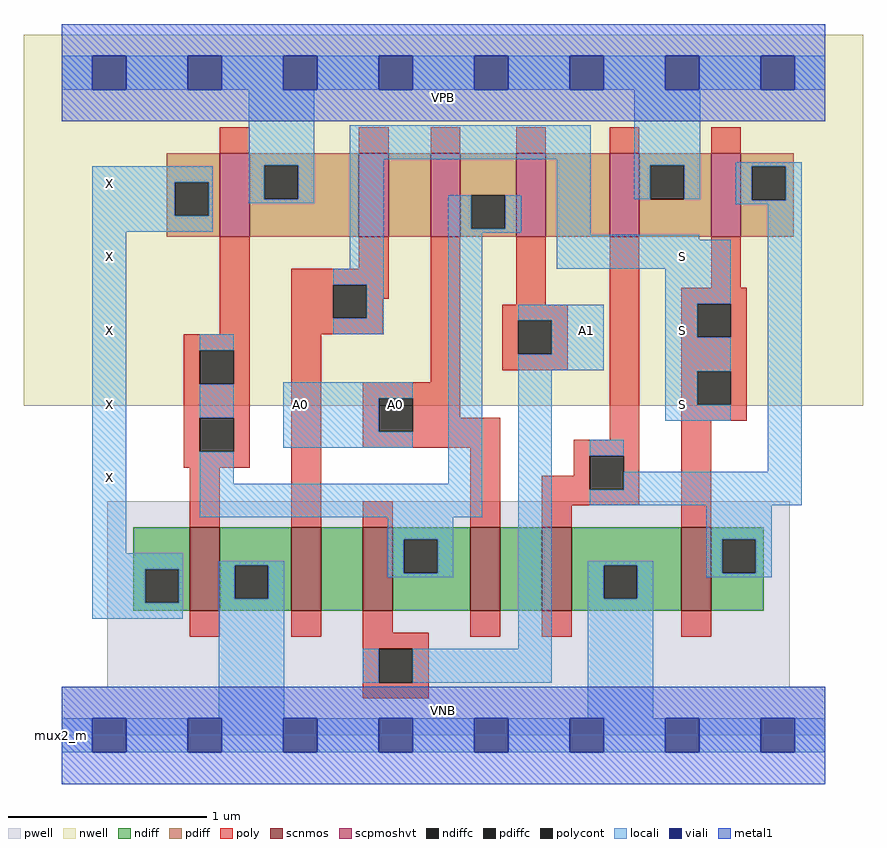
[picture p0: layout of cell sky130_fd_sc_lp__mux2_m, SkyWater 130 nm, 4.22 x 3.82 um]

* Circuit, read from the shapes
.subckt sky130_fd_sc_lp__mux2_m A0 A1 S VGND VNB VPB VPWR X
XM1 VGND n1 X VNB sky130_fd_pr__nfet_01v8 w=0.42 l=0.15
XM2 n2 S VGND VNB sky130_fd_pr__nfet_01v8 w=0.42 l=0.15
XM3 n1 A1 n2 VNB sky130_fd_pr__nfet_01v8 w=0.42 l=0.15
XM4 n3 A0 n1 VNB sky130_fd_pr__nfet_01v8 w=0.42 l=0.15
XM5 VGND n4 n3 VNB sky130_fd_pr__nfet_01v8 w=0.42 l=0.15
XM6 n4 S VGND VNB sky130_fd_pr__nfet_01v8 w=0.42 l=0.15
XM7 VPWR n1 X VPB sky130_fd_pr__pfet_01v8_hvt w=0.42 l=0.15
XM8 n5 S VPWR VPB sky130_fd_pr__pfet_01v8_hvt w=0.42 l=0.15
XM9 n1 A0 n5 VPB sky130_fd_pr__pfet_01v8_hvt w=0.42 l=0.15
XM10 n6 A1 n1 VPB sky130_fd_pr__pfet_01v8_hvt w=0.42 l=0.15
XM11 VPWR n4 n6 VPB sky130_fd_pr__pfet_01v8_hvt w=0.42 l=0.15
XM12 n4 S VPWR VPB sky130_fd_pr__pfet_01v8_hvt w=0.42 l=0.15
.ends

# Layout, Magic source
magic
tech sky130A
magscale 1 2
<< nwell >>
rect -38 331 806 704
<< pwell >>
rect 46 49 732 235
rect 0 0 768 49
<< scnmos >>
rect 129 125 159 209
rect 231 125 261 209
rect 303 125 333 209
rect 411 125 441 209
rect 483 125 513 209
rect 623 125 653 209
<< scpmoshvt >>
rect 159 501 189 585
rect 299 501 329 585
rect 371 501 401 585
rect 457 501 487 585
rect 551 501 581 585
rect 653 501 683 585
<< ndiff >>
rect 72 167 129 209
rect 72 133 84 167
rect 118 133 129 167
rect 72 125 129 133
rect 159 171 231 209
rect 159 137 174 171
rect 208 137 231 171
rect 159 125 231 137
rect 261 125 303 209
rect 333 197 411 209
rect 333 163 344 197
rect 378 163 411 197
rect 333 125 411 163
rect 441 125 483 209
rect 513 171 623 209
rect 513 137 545 171
rect 579 137 623 171
rect 513 125 623 137
rect 653 197 706 209
rect 653 163 664 197
rect 698 163 706 197
rect 653 125 706 163
<< pdiff >>
rect 106 556 159 585
rect 106 522 114 556
rect 148 522 159 556
rect 106 501 159 522
rect 189 573 299 585
rect 189 539 204 573
rect 238 539 299 573
rect 189 501 299 539
rect 329 501 371 585
rect 401 543 457 585
rect 401 509 412 543
rect 446 509 457 543
rect 401 501 457 509
rect 487 501 551 585
rect 581 573 653 585
rect 581 539 592 573
rect 626 539 653 573
rect 581 501 653 539
rect 683 572 736 585
rect 683 538 694 572
rect 728 538 736 572
rect 683 501 736 538
<< ndiffc >>
rect 84 133 118 167
rect 174 137 208 171
rect 344 163 378 197
rect 545 137 579 171
rect 664 163 698 197
<< pdiffc >>
rect 114 522 148 556
rect 204 539 238 573
rect 412 509 446 543
rect 592 539 626 573
rect 694 538 728 572
<< poly >>
rect 159 585 189 611
rect 299 585 329 611
rect 371 585 401 611
rect 457 585 487 611
rect 551 585 581 611
rect 653 585 683 611
rect 159 403 189 501
rect 299 469 329 501
rect 123 387 189 403
rect 123 353 139 387
rect 173 353 189 387
rect 123 319 189 353
rect 123 285 139 319
rect 173 285 189 319
rect 123 269 189 285
rect 231 453 329 469
rect 231 419 273 453
rect 307 439 329 453
rect 307 419 323 439
rect 231 403 323 419
rect 129 209 159 269
rect 231 209 261 403
rect 371 355 401 501
rect 457 433 487 501
rect 443 417 509 433
rect 443 383 459 417
rect 493 383 509 417
rect 443 367 509 383
rect 303 339 401 355
rect 303 305 319 339
rect 353 319 401 339
rect 353 305 441 319
rect 303 289 441 305
rect 551 297 581 501
rect 653 450 683 501
rect 303 209 333 235
rect 411 209 441 289
rect 515 281 581 297
rect 515 261 531 281
rect 483 247 531 261
rect 565 247 581 281
rect 483 231 581 247
rect 623 434 689 450
rect 623 400 639 434
rect 673 400 689 434
rect 623 366 689 400
rect 623 332 639 366
rect 673 332 689 366
rect 623 316 689 332
rect 483 209 513 231
rect 623 209 653 316
rect 129 99 159 125
rect 231 99 261 125
rect 303 103 333 125
rect 303 87 369 103
rect 411 99 441 125
rect 483 99 513 125
rect 623 99 653 125
rect 303 53 319 87
rect 353 53 369 87
rect 303 37 369 53
<< polycont >>
rect 139 353 173 387
rect 139 285 173 319
rect 273 419 307 453
rect 459 383 493 417
rect 319 305 353 339
rect 531 247 565 281
rect 639 400 673 434
rect 639 332 673 366
rect 319 53 353 87
<< locali >>
rect 0 649 31 683
rect 65 649 127 683
rect 161 649 223 683
rect 257 649 319 683
rect 353 649 415 683
rect 449 649 511 683
rect 545 649 607 683
rect 641 649 703 683
rect 737 649 768 683
rect 188 573 254 649
rect 31 556 152 572
rect 31 522 114 556
rect 148 522 152 556
rect 188 539 204 573
rect 238 539 254 573
rect 188 535 254 539
rect 290 579 532 613
rect 31 506 152 522
rect 31 183 65 506
rect 290 469 324 579
rect 273 453 324 469
rect 307 419 324 453
rect 273 403 324 419
rect 389 509 412 543
rect 446 509 462 543
rect 389 505 462 509
rect 139 387 173 403
rect 139 319 173 353
rect 223 339 353 355
rect 223 305 319 339
rect 223 289 353 305
rect 139 253 173 285
rect 389 253 423 505
rect 498 503 532 579
rect 576 573 642 649
rect 576 539 592 573
rect 626 539 642 573
rect 678 572 744 576
rect 678 538 694 572
rect 728 538 744 572
rect 678 534 744 538
rect 498 498 641 503
rect 498 469 673 498
rect 607 434 673 469
rect 139 219 423 253
rect 459 417 545 433
rect 493 383 545 417
rect 459 367 545 383
rect 607 400 639 434
rect 328 197 394 219
rect 31 167 122 183
rect 31 133 84 167
rect 118 133 122 167
rect 31 117 122 133
rect 158 171 224 175
rect 158 137 174 171
rect 208 137 224 171
rect 328 163 344 197
rect 378 163 394 197
rect 328 159 394 163
rect 158 17 224 137
rect 459 87 493 367
rect 607 366 673 400
rect 607 332 639 366
rect 607 316 673 332
rect 531 281 565 297
rect 710 265 744 534
rect 565 247 744 265
rect 531 231 744 247
rect 648 197 714 231
rect 303 53 319 87
rect 353 53 493 87
rect 529 171 595 175
rect 529 137 545 171
rect 579 137 595 171
rect 648 163 664 197
rect 698 163 714 197
rect 648 159 714 163
rect 529 17 595 137
rect 0 -17 31 17
rect 65 -17 127 17
rect 161 -17 223 17
rect 257 -17 319 17
rect 353 -17 415 17
rect 449 -17 511 17
rect 545 -17 607 17
rect 641 -17 703 17
rect 737 -17 768 17
<< viali >>
rect 31 649 65 683
rect 127 649 161 683
rect 223 649 257 683
rect 319 649 353 683
rect 415 649 449 683
rect 511 649 545 683
rect 607 649 641 683
rect 703 649 737 683
rect 31 -17 65 17
rect 127 -17 161 17
rect 223 -17 257 17
rect 319 -17 353 17
rect 415 -17 449 17
rect 511 -17 545 17
rect 607 -17 641 17
rect 703 -17 737 17
<< metal1 >>
rect 0 683 768 715
rect 0 649 31 683
rect 65 649 127 683
rect 161 649 223 683
rect 257 649 319 683
rect 353 649 415 683
rect 449 649 511 683
rect 545 649 607 683
rect 641 649 703 683
rect 737 649 768 683
rect 0 617 768 649
rect 0 17 768 49
rect 0 -17 31 17
rect 65 -17 127 17
rect 161 -17 223 17
rect 257 -17 319 17
rect 353 -17 415 17
rect 449 -17 511 17
rect 545 -17 607 17
rect 641 -17 703 17
rect 737 -17 768 17
rect 0 -49 768 -17
<< labels >>
flabel pwell s 0 0 768 49 0 FreeSans 200 0 0 0 VNB
port 5 nsew ground bidirectional
flabel nwell s 0 617 768 666 0 FreeSans 200 0 0 0 VPB
port 6 nsew power bidirectional
rlabel comment s 0 0 0 0 4 mux2_m
flabel metal1 s 0 617 768 666 0 FreeSans 340 0 0 0 VPWR
port 7 nsew power bidirectional
flabel metal1 s 0 0 768 49 0 FreeSans 340 0 0 0 VGND
port 4 nsew ground bidirectional
flabel locali s 223 316 257 350 0 FreeSans 340 0 0 0 A0
port 1 nsew signal input
flabel locali s 319 316 353 350 0 FreeSans 340 0 0 0 A0
port 1 nsew signal input
flabel locali s 607 316 641 350 0 FreeSans 340 0 0 0 S
port 3 nsew signal input
flabel locali s 607 390 641 424 0 FreeSans 340 0 0 0 S
port 3 nsew signal input
flabel locali s 607 464 641 498 0 FreeSans 340 0 0 0 S
port 3 nsew signal input
flabel locali s 511 390 545 424 0 FreeSans 340 0 0 0 A1
port 2 nsew signal input
flabel locali s 31 242 65 276 0 FreeSans 340 0 0 0 X
port 8 nsew signal output
flabel locali s 31 316 65 350 0 FreeSans 340 0 0 0 X
port 8 nsew signal output
flabel locali s 31 390 65 424 0 FreeSans 340 0 0 0 X
port 8 nsew signal output
flabel locali s 31 464 65 498 0 FreeSans 340 0 0 0 X
port 8 nsew signal output
flabel locali s 31 538 65 572 0 FreeSans 340 0 0 0 X
port 8 nsew signal output
<< properties >>
string LEFsite unit
string LEFclass CORE
string FIXED_BBOX 0 0 768 666
string GDS_FILE $PDKPATH/libs.ref/sky130_fd_sc_lp/gds/sky130_fd_sc_lp.gds
string LEFsymmetry X Y R90
string GDS_END 1692972
string GDS_START 1686070
<< end >>
